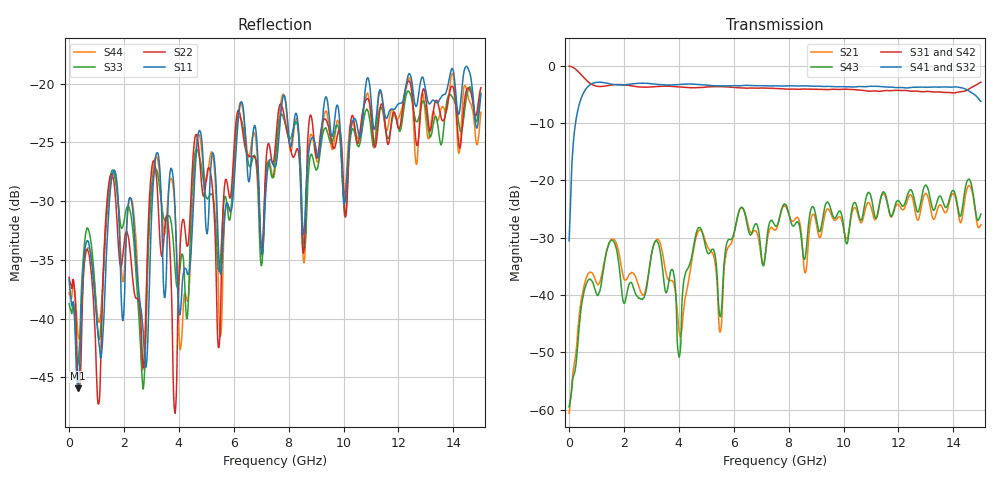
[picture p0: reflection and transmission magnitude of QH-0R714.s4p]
! MARKI MICROWAVE INC.
! Email:  info@markimicrowave.com  Phone:  408-778-4200
! Model Number:  QH-0R714  Date:  09/14
! Filename:		QH_0R714.S4P  Version: 1.0
! Description:  4-port S-parameter data for Quadrature Hybrid Coupler QH-0R714
! Frequency Range: 	10 MHz to 15 GHz
! Port Configuration:	PORT 1: Input
!  PORT 2: Isolated
!  Port 3: Through
!  Port 4: 90 Degree Coupled
! S4P File: Measurements: Mag<S11> Ang<S11> Mag<S12> Ang<S12> Mag<S13> Ang<S13> Mag<S14> Ang<S14>! row 1
!  Mag<S21> Ang<S21> Mag<S22> Ang<S22> Mag<S23> Ang<S23> Mag<S24> Ang<S24>! row 2
!  Mag<S31> Ang<S31> Mag<S32> Ang<S32> Mag<S33> Ang<S33> Mag<S34> Ang<S34>! row 3
!  Mag<S41> Ang<S41> Mag<S42> Ang<S42> Mag<S43> Ang<S43> Mag<S44> Ang<S44>! row 4
# Hz S  dB  R 50
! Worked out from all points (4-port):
!   801 points, 10 MHz to 15 GHz, reference 50 ohm
!   strongest paths, dB at 10 MHz, 3.757 GHz, 7.505 GHz, 11.25 GHz, 15 GHz:
!     S41: -30.5, -3.3, -3.5, -3.6, -6.2
!     S32: -30.4, -3.4, -3.5, -3.6, -6.3
!     S31: -0.1, -3.6, -4.0, -4.4, -2.9
!     S42: 0.0, -3.6, -4.0, -4.5, -2.9
!     S43: -59.5, -35.5, -27.9, -25.7, -25.9
!     S21: -60.6, -37.4, -28.7, -25.4, -27.7
!   lowest |S11| = -45.9 dB at 328.5 MHz (marker M1), VSWR 1.01, Z = 50.5 - j0.0899 ohm
!   |S11| at or under -10 dB: start of sweep to end of sweep
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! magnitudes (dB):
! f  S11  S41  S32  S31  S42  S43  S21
! 10 MHz  -36.7  -30.5  -30.4  -0.1  0.0  -59.5  -60.6
! 328.5 MHz  -45.9  -7.7  -7.7  -1.0  -1.0  -48.5  -46.2
! 1.546 GHz  -28.3  -3.2  -3.2  -3.4  -3.4  -30.4  -30.3
! 3.87 GHz  -30.9  -3.3  -3.3  -3.6  -3.6  -38.3  -39.2
! 4.619 GHz  -26.6  -3.2  -3.3  -3.8  -3.8  -29.5  -30.2
! 5.463 GHz  -34.8  -3.5  -3.5  -3.6  -3.6  -42.4  -45.0
! 15 GHz  -20.9  -6.2  -6.3  -2.9  -2.9  -25.9  -27.7
